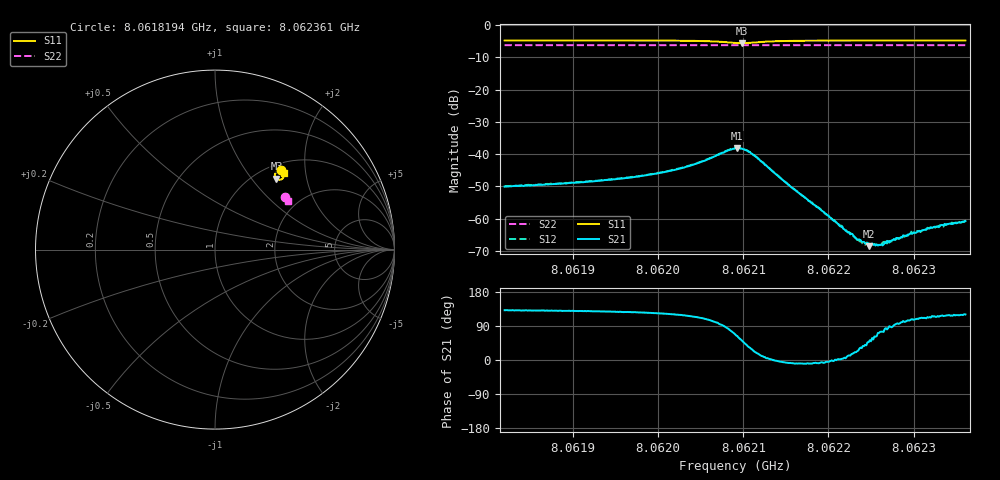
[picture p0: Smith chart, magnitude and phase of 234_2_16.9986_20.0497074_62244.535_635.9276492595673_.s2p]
#  HZ  S  RI  R  50.00
! Rohde & Schwarz Vector Network Analyzer
! Rohde-Schwarz,ZNB20-2Port,1311601062101988,3.16
! Created: UTC 3/20/2024, 11:02:36 PM
! freq[Hz]  re:S11  im:S11  re:S21  im:S21  re:S12  im:S12  re:S22  im:S22
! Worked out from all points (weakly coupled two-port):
!   401 points, 8.0618194 GHz to 8.062361 GHz, reference 50 ohm
!   highest |S21| = -38.12 dB at 8.0620929 GHz (marker M1); lowest = -68.5 dB at 8.0622472 GHz (marker M2)
!   lowest |S11| = -5.6 dB at 8.0620983 GHz (marker M3), VSWR 3.19, Z = 61.7 + j67.1 ohm
!   |S11| at or under -10 dB: nowhere
!   |S22| runs from -6.3 to -6.2 dB; largest |S21 - S12| = 0.00098
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8.06181945e9  0.3651 0.4453  -0.00208 0.00236  -0.00198 0.00254  0.3875 0.2957
8.06191015e9  0.3718 0.4392  -0.00233 0.00285  -0.0022 0.003  0.3907 0.2913
8.06196431e9  0.3764 0.4343  -0.00257 0.00342  -0.00241 0.00363  0.3927 0.2885
8.06200086e9  0.3798 0.4292  -0.00278 0.00427  -0.00252 0.00449  0.394 0.2866
8.06203876e9  0.3836 0.4194  -0.00287 0.00607  -0.00257 0.0063  0.3951 0.2843
8.06209021e9  0.3565 0.3887  0.00453 0.0114  0.0053 0.0112  0.3951 0.2811
8.06209292e9  0.3514 0.3898  0.00559 0.0111  0.0064 0.0107  0.3949 0.281
8.06209833e9  0.342 0.3949  0.00759 0.00949  0.00828 0.00913  0.3949 0.2811
8.06210645e9  0.3339 0.4082  0.00898 0.00608  0.00952 0.00563  0.3947 0.2816
8.06211593e9  0.3351 0.4234  0.00852 0.00277  0.0086 0.00219  0.3955 0.2819
8.06214842e9  0.3556 0.4393  0.00373 -0.000405  0.00377 -0.000636  0.3977 0.2806
8.06218091e9  0.3667 0.4386  0.0017 -0.000283  0.00175 -0.000379  0.3992 0.2788
8.06222017e9  0.3738 0.4358  0.000651 5.17e-05  0.000678 4.6e-05  0.4006 0.2769
8.06223236e9  0.3753 0.4349  0.000462 0.000174  0.000485 0.000131  0.4011 0.2761
8.06223913e9  0.3763 0.4344  0.00038 0.000232  0.000364 0.000222  0.4013 0.2758
8.06224725e9  0.3771 0.4339  0.000257 0.000274  0.000287 0.000291  0.4016 0.2753
8.06225943e9  0.3783 0.4331  0.000125 0.000376  0.000119 0.000368  0.4019 0.2748
8.06226485e9  0.379 0.4327  0.000108 0.000384  0.000109 0.000424  0.4022 0.2744
8.06227162e9  0.3796 0.4322  6.46e-06 0.000428  6.44e-05 0.000448  0.4023 0.274
8.06229734e9  0.382 0.4306  -0.000174 0.000558  -0.000163 0.000609  0.4033 0.2727
8.06231765e9  0.3836 0.4293  -0.000264 0.000658  -0.000223 0.000681  0.4039 0.2717
8.06236097e9  0.3868 0.4269  -0.000463 0.000798  -0.0004 0.000848  0.4052 0.2696
